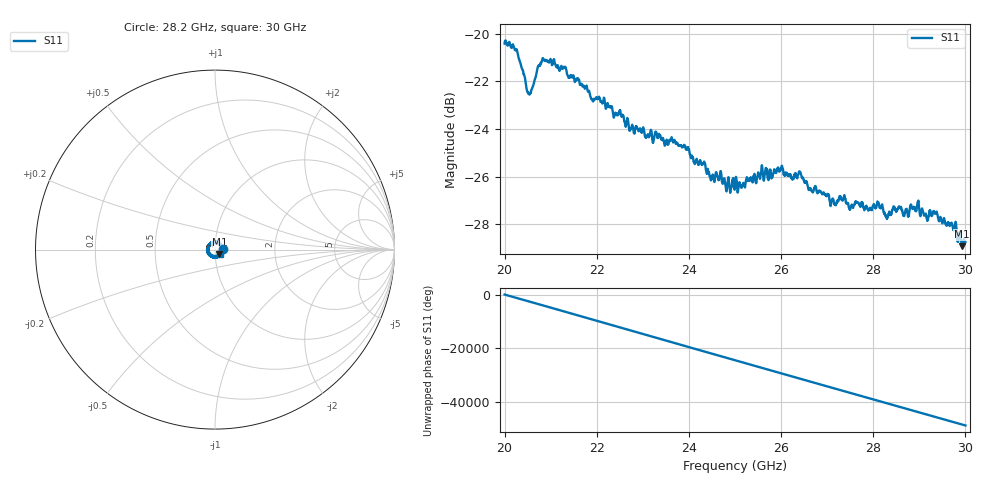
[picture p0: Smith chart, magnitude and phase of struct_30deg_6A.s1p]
#  HZ  S  RI  R  50.00
! Rohde & Schwarz ZVA40 4Ports - Version 3.90 - 1145.1110k42 SN: 100403
! Date: 2023-09-30 07:13:58
! Measurement: S12
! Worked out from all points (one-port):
!   5001 points, 20 GHz to 30 GHz, reference 50 ohm
!   lowest |S11| = -28.9 dB at 29.92 GHz (marker M1), VSWR 1.07, Z = 52.4 - j2.76 ohm
!   |S11| at or under -10 dB: start of sweep to end of sweep
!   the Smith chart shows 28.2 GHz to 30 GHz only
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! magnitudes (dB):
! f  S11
! 20 GHz  -20.4
! 20.24 GHz  -20.7
! 20.53 GHz  -22.5
! 20.83 GHz  -21.0
! 21.25 GHz  -21.5
! 21.91 GHz  -22.8
! 22.5 GHz  -23.2
! 22.76 GHz  -23.9
! 23.75 GHz  -24.6
! 24.31 GHz  -25.5
! 24.51 GHz  -25.9
! 25 GHz  -26.5
! 25.98 GHz  -25.8
! 26.25 GHz  -26.1
! 26.41 GHz  -25.8
! 26.64 GHz  -26.5
! 27.33 GHz  -27.0
! 27.5 GHz  -27.4
! 28.13 GHz  -27.2
! 28.29 GHz  -27.7
! 28.56 GHz  -27.2
! 28.75 GHz  -27.6
! 28.94 GHz  -27.3
! 29.15 GHz  -27.7
! 29.34 GHz  -27.6
! 29.76 GHz  -28.2
! 29.92 GHz  -28.9
! 30 GHz  -28.8
